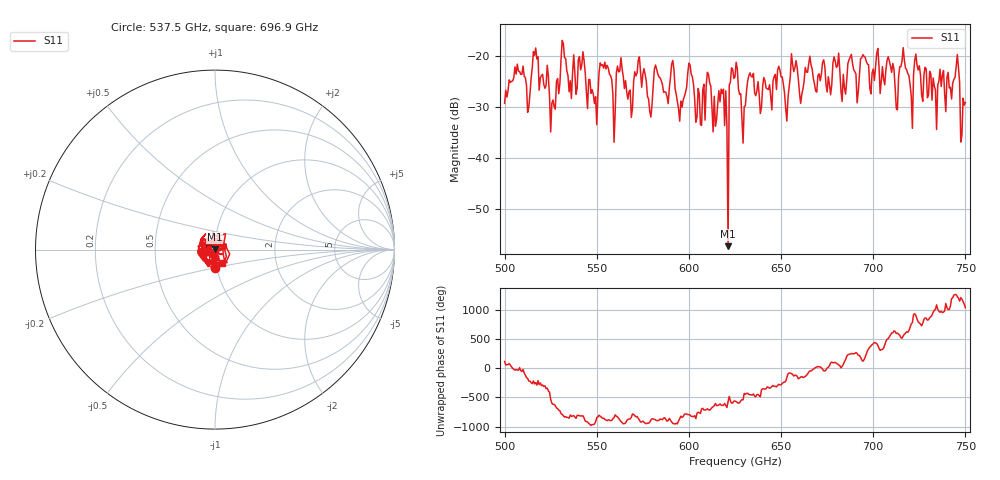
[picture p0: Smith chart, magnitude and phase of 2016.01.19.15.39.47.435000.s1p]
!Created with skrf (http://scikit-rf.org).
# GHz S RI R 50.0
!freq ReS11 ImS11
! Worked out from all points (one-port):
!   401 points, 500 GHz to 750 GHz, reference 50 ohm
!   lowest |S11| = -57.3 dB at 621.2 GHz (marker M1), VSWR 1.00, Z = 49.9 + j0.0687 ohm
!   |S11| at or under -10 dB: start of sweep to end of sweep
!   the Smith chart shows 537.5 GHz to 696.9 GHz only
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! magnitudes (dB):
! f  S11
! 500 GHz  -29.3
! 506.9 GHz  -21.7
! 513.1 GHz  -30.1
! 516.9 GHz  -18.5
! 526.2 GHz  -28.7
! 531.2 GHz  -17.0
! 549.4 GHz  -28.1
! 553.1 GHz  -21.8
! 558.8 GHz  -27.6
! 562.5 GHz  -23.0
! 578.8 GHz  -30.9
! 591.2 GHz  -21.0
! 593.8 GHz  -29.1
! 600.6 GHz  -21.9
! 605 GHz  -26.4
! 610.6 GHz  -23.7
! 621.2 GHz  -57.3
! 625 GHz  -24.2
! 629.4 GHz  -37.1
! 633.8 GHz  -24.0
! 653.1 GHz  -32.8
! 656.2 GHz  -21.7
! 680 GHz  -22.3
! 683.8 GHz  -23.7
! 687.5 GHz  -20.3
! 718.8 GHz  -23.5
! 745 GHz  -22.2
! 750 GHz  -29.2
